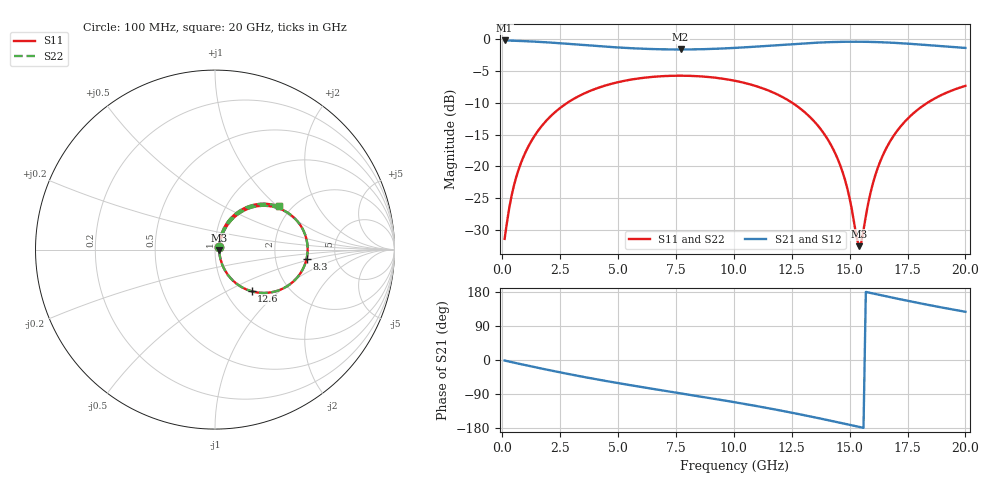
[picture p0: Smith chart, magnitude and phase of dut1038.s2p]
! Touchstone file exported from HFSS 2026.1.0
!  File:  C:/ffzhzh/LocalFiles/Ansys_Project_Files/temp_train_TSV_RDL_1038_1783295204_30076.aedt
!  Generated:  07:56:30 AM Jul  6, 2026
!  Design:  TSV_RDL
!  Project:  temp_train_TSV_RDL_1038_1783295204_30076
! Variables:
!  h_bsmrdl = 2.16um
!  h_ox = 20um
!  h_rdl = 5um
!  h_sub = 84.08um
!  h_tmrdl = 4.21um
!  h_tsv = 84.08um
!  h_via = 3um
!  l_bsmrdl = 527.54um
!  l_sub = 3717.86um
!  l_tmrdl = 407.11um
!  m_sub = 200um
!  pitch = 43.79um
!  r_tsv = 9.6um
!  s_tmrdl = 10um
!  w_bsmrdl = 17.65um
!  w_sub = 500um
!  w_tmrdl = 17.95um
!  x_tsv_center1 = 416.085um
!  x_tsv_center2 = 961.275um
!  x_tsv_center3 = 1386.335um
!  x_tsv_center4 = 1931.525um
!  x_tsv_center5 = 2356.585um
!  x_tsv_center6 = 2901.775um
# GHz S MA R 50.000000
! Terminal data exported
! Port[1] = TM_RDL1_1_T1
! Port[2] = TM_RDL5_1_T1
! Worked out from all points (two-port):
!   200 points, 100 MHz to 20 GHz, reference 50 ohm
!   highest |S21| = -0.20 dB at 100 MHz (marker M1); lowest = -1.6 dB at 7.7 GHz (marker M2)
!   |S21| within 3 dB of the highest: start of sweep to end of sweep
!   lowest |S11| = -32.5 dB at 15.4 GHz (marker M3), VSWR 1.05, Z = 52.4 - j0.224 ohm
!   |S11| at or under -10 dB: start of sweep to 2.813 GHz; 12.52 GHz to 18.36 GHz (5.844 GHz wide, 37.8 % of centre)
!   |S22| runs from -32.7 to -5.7 dB; largest |S21 - S12| = 1.6e-14
!   S11 on the Smith chart (normalised r, x): 100 MHz: 1.05, +0.03; 8.3 GHz: 3.05, -0.41; 12.6 GHz: 1.32, -0.68; 20 GHz: 1.73, +1.02
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0.1  0.02691 29.1  0.9767 -1.4  0.9767 -1.4  0.02691 29.1
! Gamma 0 0 0 0
! Port Impedance 50 0 50 0
0.5  0.07037 61.6  0.9721 -6.9  0.9721 -6.9  0.07037 61.6
1.2  0.1518 63.2  0.9603 -16.2  0.9603 -16.2  0.1518 63.2
2.2  0.2591 54.7  0.937 -29.0  0.937 -29.0  0.2591 54.7
3.5  0.3714 41.1  0.8996 -44.5  0.8996 -44.5  0.3714 41.1
5  0.459 25.8  0.8602 -60.9  0.8602 -60.9  0.4591 25.8
6.8  0.5103 8.5  0.8329 -79.2  0.8329 -79.2  0.5103 8.5
7.7  0.5162 0.1  0.8296 -88.0  0.8296 -88.0  0.5162 0.1
8.3  0.513 -5.6  0.8314 -93.9  0.8314 -93.9  0.513 -5.6
10.1  0.4686 -22.8  0.8547 -112.1  0.8547 -112.1  0.4687 -22.9
12.6  0.3092 -48.7  0.9158 -140.3  0.9158 -140.3  0.3092 -48.7
13.4  0.2329 -56.9  0.9344 -150.2  0.9344 -150.2  0.2329 -57.0
14.1  0.1579 -62.9  0.9468 -159.2  0.9468 -159.2  0.1579 -63.0
14.6  0.1013 -64.5  0.9523 -165.8  0.9523 -165.8  0.1012 -64.6
15  0.05611 -58.4  0.9545 -171.1  0.9545 -171.1  0.05602 -58.7
15.4  0.02358 -5.2  0.9545 -176.4  0.9545 -176.4  0.02326 -5.4
15.5  0.02514 21.9  0.9542 -177.7  0.9542 -177.7  0.02481 22.1
15.8  0.0509 59.3  0.9523 178.3  0.9523 178.3  0.05071 59.6
16.1  0.08416 66.6  0.9493 174.3  0.9493 174.3  0.08403 66.9
16.7  0.1518 66.3  0.9399 166.5  0.9399 166.5  0.1517 66.4
18  0.2843 54.5  0.9086 150.1  0.9086 150.1  0.2843 54.6
20  0.4293 34.0  0.8529 127.3  0.8529 127.3  0.4292 34.1
